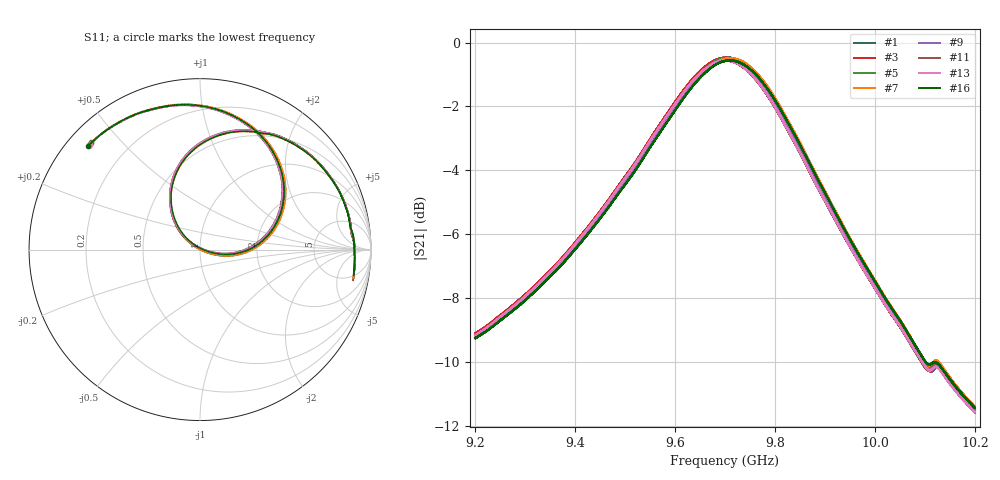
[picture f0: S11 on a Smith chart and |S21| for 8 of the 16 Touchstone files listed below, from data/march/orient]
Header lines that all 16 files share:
!Agilent Technologies,N5242A,MY51221714,A.09.90.19
!Agilent N5242A: A.09.90.19
!Correction: S11(Full 2 Port(1,2))
!S21(Full 2 Port(1,2))
!S12(Full 2 Port(1,2))
!S22(Full 2 Port(1,2))
!S2P File: Measurements: S11, S21, S12, S22:
# Hz S  dB  R 50
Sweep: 9.2 GHz to 10.2 GHz
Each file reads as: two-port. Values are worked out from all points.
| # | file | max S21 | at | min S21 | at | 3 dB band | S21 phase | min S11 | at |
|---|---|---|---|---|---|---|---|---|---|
| 1 | d0_1.s2p | -0.46 dB | 9.708 GHz | -11.5 dB | 10.2 GHz | 9.536 GHz-9.855 GHz | -112 deg at 9.7 GHz | -77.4 dB | 9.706 GHz |
| 2 | d0_2.s2p | -0.46 dB | 9.706 GHz | -11.5 dB | 10.2 GHz | 9.537 GHz-9.856 GHz | -112 deg at 9.7 GHz | -63.7 dB | 9.707 GHz |
| 3 | d1_1.s2p | -0.47 dB | 9.704 GHz | -11.6 dB | 10.2 GHz | 9.532 GHz-9.852 GHz | -114 deg at 9.7 GHz | -71.6 dB | 9.703 GHz |
| 4 | d1_2.s2p | -0.47 dB | 9.705 GHz | -11.5 dB | 10.2 GHz | 9.54 GHz-9.858 GHz | -111 deg at 9.7 GHz | -59.2 dB | 9.71 GHz |
| 5 | d2_1.s2p | -0.48 dB | 9.709 GHz | -11.5 dB | 10.2 GHz | 9.537 GHz-9.857 GHz | -112 deg at 9.7 GHz | -57.9 dB | 9.707 GHz |
| 6 | d2_2.s2p | -0.48 dB | 9.718 GHz | -11.4 dB | 10.2 GHz | 9.543 GHz-9.863 GHz | -110 deg at 9.7 GHz | -63.2 dB | 9.714 GHz |
| 7 | d3_1.s2p | -0.48 dB | 9.71 GHz | -11.4 dB | 10.2 GHz | 9.542 GHz-9.861 GHz | -111 deg at 9.7 GHz | -70.3 dB | 9.712 GHz |
| 8 | d3_2.s2p | -0.48 dB | 9.709 GHz | -11.4 dB | 10.2 GHz | 9.541 GHz-9.861 GHz | -111 deg at 9.7 GHz | -60.7 dB | 9.712 GHz |
| 9 | d4_1.s2p | -0.55 dB | 9.704 GHz | -11.5 dB | 10.2 GHz | 9.535 GHz-9.856 GHz | -113 deg at 9.7 GHz | -40.5 dB | 9.706 GHz |
| 10 | d4_2.s2p | -1.13 dB | 9.685 GHz | -11.9 dB | 10.2 GHz | 9.503 GHz-9.846 GHz | -119 deg at 9.7 GHz | -25.1 dB | 9.686 GHz |
| 11 | d5_1.s2p | -0.55 dB | 9.704 GHz | -11.6 dB | 10.2 GHz | 9.531 GHz-9.853 GHz | -114 deg at 9.7 GHz | -40.2 dB | 9.702 GHz |
| 12 | d5_2.s2p | -0.80 dB | 9.696 GHz | -11.7 dB | 10.2 GHz | 9.522 GHz-9.853 GHz | -115 deg at 9.7 GHz | -30.6 dB | 9.699 GHz |
| 13 | d6_1.s2p | -0.54 dB | 9.699 GHz | -11.6 dB | 10.2 GHz | 9.532 GHz-9.853 GHz | -114 deg at 9.7 GHz | -41.8 dB | 9.703 GHz |
| 14 | d6_2.s2p | -0.52 dB | 9.71 GHz | -11.5 dB | 10.2 GHz | 9.538 GHz-9.858 GHz | -112 deg at 9.7 GHz | -46.5 dB | 9.709 GHz |
| 15 | d7_1.s2p | -0.55 dB | 9.705 GHz | -11.6 dB | 10.2 GHz | 9.532 GHz-9.853 GHz | -114 deg at 9.7 GHz | -40.6 dB | 9.703 GHz |
| 16 | d7_2.s2p | -0.55 dB | 9.71 GHz | -11.5 dB | 10.2 GHz | 9.54 GHz-9.861 GHz | -111 deg at 9.7 GHz | -42.4 dB | 9.711 GHz |
